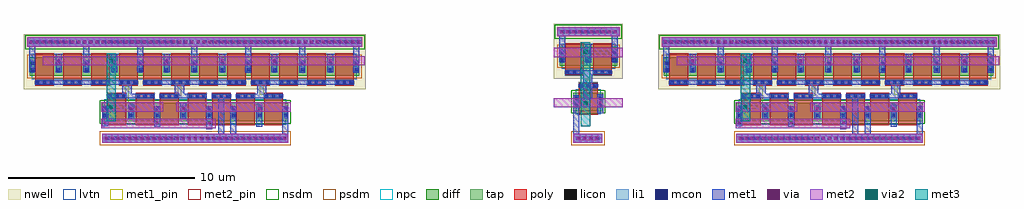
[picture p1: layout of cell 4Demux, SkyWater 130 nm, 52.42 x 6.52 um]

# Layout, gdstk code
import gdstk
lib = gdstk.Library(unit=1e-6, precision=5e-09)
def R(c, l, rs):  # rectangles x0, y0, x1, y1
    for r in rs: c.add(gdstk.rectangle(r[:2], r[2:], *l))
def A(c, l, x, y, w, h, nx, ny, dx, dy):  # array of equal rectangles
    R(c, l, [(x+i*dx, y+j*dy, x+i*dx+w, y+j*dy+h) for i in range(nx) for j in range(ny)])
nwell = (64, 20)
diff = (65, 20)
tap = (65, 44)
poly = (66, 20)
licon = (66, 44)
li1 = (67, 20)
mcon = (67, 44)
met1_pin = (68, 16)
met1 = (68, 20)
via = (68, 44)
met2_pin = (69, 16)
met2 = (69, 20)
via2 = (69, 44)
met3 = (70, 20)
nsdm = (93, 44)
psdm = (94, 20)
npc = (95, 20)
lvtn = (125, 44)

pfet = lib.new_cell('pfet')
R(pfet, nwell, [(-0.305,-0.72,6.405,1.38)])
R(pfet, diff, [(0,0,6.1,1)])
A(pfet, poly, 0.3, -0.53, 1, 0.33, 4, 1, 1.5, 0)
A(pfet, poly, 0.3, -0.2, 1, 1.4, 4, 1, 1.5, 0)
A(pfet, licon, 0.355, -0.45, 0.17, 0.17, 3, 1, 0.36, 0)
A(pfet, licon, 1.855, -0.45, 0.17, 0.17, 3, 1, 0.36, 0)
A(pfet, licon, 3.355, -0.45, 0.17, 0.17, 3, 1, 0.36, 0)
A(pfet, licon, 4.855, -0.45, 0.17, 0.17, 3, 1, 0.36, 0)
A(pfet, licon, 1.465, 0.235, 0.17, 0.17, 3, 2, 1.5, 0.36)
R(pfet, licon, [(0.065,0.235,0.235,0.405), (5.865,0.235,6.035,0.405), (0.065,0.595,0.235,0.765), (5.865,0.595,6.035,0.765)])
A(pfet, li1, 0.275, -0.45, 1.05, 0.17, 4, 1, 1.5, 0)
A(pfet, li1, 1.465, 0.155, 0.17, 0.69, 3, 1, 1.5, 0)
R(pfet, li1, [(0.065,0.155,0.235,0.845), (5.865,0.155,6.035,0.845)])
A(pfet, mcon, 0.355, -0.45, 0.17, 0.17, 3, 1, 0.36, 0)
A(pfet, mcon, 1.855, -0.45, 0.17, 0.17, 3, 1, 0.36, 0)
A(pfet, mcon, 3.355, -0.45, 0.17, 0.17, 3, 1, 0.36, 0)
A(pfet, mcon, 4.855, -0.45, 0.17, 0.17, 3, 1, 0.36, 0)
A(pfet, mcon, 1.465, 0.235, 0.17, 0.17, 3, 2, 1.5, 0.36)
R(pfet, mcon, [(0.065,0.235,0.235,0.405), (5.865,0.235,6.035,0.405), (0.065,0.595,0.235,0.765), (5.865,0.595,6.035,0.765)])
A(pfet, met1, 0.295, -0.48, 1.01, 0.23, 4, 1, 1.5, 0)
A(pfet, met1, 1.435, 0.175, 0.23, 0.65, 3, 1, 1.5, 0)
R(pfet, met1, [(0.035,0.175,0.265,0.825), (5.835,0.175,6.065,0.825)])
R(pfet, psdm, [(-0.125,-0.125,6.225,1.125)])
A(pfet, npc, 0.29, -0.54, 1.02, 0.35, 4, 1, 1.5, 0)
R(pfet, lvtn, [(0.12,-0.18,5.98,1.18)])

vias_gen = lib.new_cell('vias_gen')
R(vias_gen, nwell, [(-0.18,-0.18,18.18,0.68)])
R(vias_gen, tap, [(0,0,18,0.5)])
A(vias_gen, licon, 0.245, 0.165, 0.17, 0.17, 52, 1, 0.34, 0)
R(vias_gen, li1, [(0,0,18,0.5)])
A(vias_gen, mcon, 0.095, 0.165, 0.17, 0.17, 50, 1, 0.36, 0)
R(vias_gen, met1, [(0,0,18,0.5)])
A(vias_gen, via, 0.125, 0.175, 0.15, 0.15, 56, 1, 0.32, 0)
R(vias_gen, met2, [(0,0,18,0.5)])
R(vias_gen, nsdm, [(-0.125,-0.125,18.125,0.625)])

nfet_1 = lib.new_cell('nfet$1')
R(nfet_1, diff, [(0,0,1.6,1)])
R(nfet_1, poly, [(0.3,-0.2,1.3,1.2), (0.3,1.2,1.3,1.53)])
A(nfet_1, licon, 0.355, 1.28, 0.17, 0.17, 3, 1, 0.36, 0)
R(nfet_1, licon, [(0.065,0.235,0.235,0.405), (1.365,0.235,1.535,0.405), (0.065,0.595,0.235,0.765), (1.365,0.595,1.535,0.765)])
R(nfet_1, li1, [(0.065,0.155,0.235,0.845), (1.365,0.155,1.535,0.845), (0.275,1.28,1.325,1.45)])
A(nfet_1, mcon, 0.355, 1.28, 0.17, 0.17, 3, 1, 0.36, 0)
R(nfet_1, mcon, [(0.065,0.235,0.235,0.405), (1.365,0.235,1.535,0.405), (0.065,0.595,0.235,0.765), (1.365,0.595,1.535,0.765)])
R(nfet_1, met1, [(0.035,0.175,0.265,0.825), (1.335,0.175,1.565,0.825), (0.295,1.25,1.305,1.48)])
R(nfet_1, nsdm, [(-0.125,-0.125,1.725,1.125)])
R(nfet_1, npc, [(0.29,1.19,1.31,1.54)])
R(nfet_1, lvtn, [(0.12,-0.18,1.48,1.18)])

nfet = lib.new_cell('nfet')
R(nfet, diff, [(0,0,3.1,1)])
R(nfet, poly, [(0.3,-0.2,1.3,1.2), (1.8,-0.2,2.8,1.2), (0.3,1.2,1.3,1.53), (1.8,1.2,2.8,1.53)])
A(nfet, licon, 0.065, 0.235, 0.17, 0.17, 3, 2, 1.4, 0.36)
A(nfet, licon, 0.355, 1.28, 0.17, 0.17, 3, 1, 0.36, 0)
A(nfet, licon, 1.855, 1.28, 0.17, 0.17, 3, 1, 0.36, 0)
A(nfet, li1, 0.065, 0.155, 0.17, 0.69, 3, 1, 1.4, 0)
R(nfet, li1, [(0.275,1.28,1.325,1.45), (1.775,1.28,2.825,1.45)])
A(nfet, mcon, 0.065, 0.235, 0.17, 0.17, 3, 2, 1.4, 0.36)
A(nfet, mcon, 0.355, 1.28, 0.17, 0.17, 3, 1, 0.36, 0)
A(nfet, mcon, 1.855, 1.28, 0.17, 0.17, 3, 1, 0.36, 0)
A(nfet, met1, 0.035, 0.175, 0.23, 0.65, 3, 1, 1.4, 0)
R(nfet, met1, [(0.295,1.25,1.305,1.48), (1.795,1.25,2.805,1.48)])
R(nfet, nsdm, [(-0.125,-0.125,3.225,1.125)])
R(nfet, npc, [(0.29,1.19,1.31,1.54), (1.79,1.19,2.81,1.54)])
R(nfet, lvtn, [(0.12,-0.18,2.98,1.18)])

vias_gen_1 = lib.new_cell('vias_gen$1')
R(vias_gen_1, tap, [(0,0,10,0.5)])
A(vias_gen_1, licon, 0.155, 0.165, 0.17, 0.17, 29, 1, 0.34, 0)
R(vias_gen_1, li1, [(0,0,10,0.5)])
A(vias_gen_1, mcon, 0.235, 0.165, 0.17, 0.17, 27, 1, 0.36, 0)
R(vias_gen_1, met1, [(0,0,10,0.5)])
A(vias_gen_1, via, 0.125, 0.175, 0.15, 0.15, 31, 1, 0.32, 0)
R(vias_gen_1, met2, [(0,0,10,0.5)])
R(vias_gen_1, psdm, [(-0.125,-0.125,10.125,0.625)])

vias_gen_2 = lib.new_cell('vias_gen$2')
R(vias_gen_2, met1, [(0,0,0.32,0.26)])
R(vias_gen_2, via, [(0.085,0.055,0.235,0.205)])
R(vias_gen_2, met2, [(0,0,0.32,0.26)])

vias_gen_4 = lib.new_cell('vias_gen$4')
R(vias_gen_4, met2, [(0,0,0.37,0.33)])
R(vias_gen_4, via2, [(0.085,0.065,0.285,0.265)])
R(vias_gen_4, met3, [(0,0,0.37,0.33)])

nand = lib.new_cell('NAND')
R(nand, nwell, [(18.31,3.01,18.36,5.14)])
nand.add(gdstk.FlexPath([(4.16,1.17),(10.31,1.17)], 0.5, ends="flush", simple_path=True, layer=69, datatype=20))  # met2
nand.add(gdstk.FlexPath([(4.16,2.05),(7.47,2.05)], 0.5, ends="flush", simple_path=True, layer=69, datatype=20))  # met2
nand.add(gdstk.FlexPath([(8.17,2.05),(14.325,2.05)], 0.5, ends="flush", simple_path=True, layer=69, datatype=20))  # met2
nand.add(gdstk.FlexPath([(1.005,4.54),(18.31,4.54)], 0.5, ends="flush", simple_path=True, layer=69, datatype=20))  # met2
nand.add(gdstk.FlexPath([(4.685,1.28),(4.685,4.93)], 0.5, ends="flush", simple_path=True, layer=70, datatype=20))  # met3
nand.add(gdstk.FlexPath([(4.855,3.905),(4.855,4.91)], 0.32, ends="flush", simple_path=True, layer=68, datatype=20))  # met1
nand.add(gdstk.FlexPath([(6.255,3.905),(6.255,5.76)], 0.32, ends="flush", simple_path=True, layer=68, datatype=20))  # met1
nand.add(gdstk.FlexPath([(3.355,3.905),(3.355,5.76)], 0.32, ends="flush", simple_path=True, layer=68, datatype=20))  # met1
nand.add(gdstk.FlexPath([(0.445,3.905),(0.445,5.76)], 0.32, ends="flush", simple_path=True, layer=68, datatype=20))  # met1
nand.add(gdstk.FlexPath([(9.145,3.905),(9.145,5.76)], 0.32, ends="flush", simple_path=True, layer=68, datatype=20))  # met1
nand.add(gdstk.FlexPath([(12.045,3.9),(12.045,5.755)], 0.32, ends="flush", simple_path=True, layer=68, datatype=20))  # met1
nand.add(gdstk.FlexPath([(14.955,3.9),(14.955,5.755)], 0.32, ends="flush", simple_path=True, layer=68, datatype=20))  # met1
nand.add(gdstk.FlexPath([(17.855,3.9),(17.855,5.755)], 0.32, ends="flush", simple_path=True, layer=68, datatype=20))  # met1
nand.add(gdstk.FlexPath([(1.855,3.905),(1.855,4.91)], 0.32, ends="flush", simple_path=True, layer=68, datatype=20))  # met1
nand.add(gdstk.FlexPath([(7.655,3.905),(7.655,4.91)], 0.32, ends="flush", simple_path=True, layer=68, datatype=20))  # met1
nand.add(gdstk.FlexPath([(10.655,3.905),(10.655,4.91)], 0.32, ends="flush", simple_path=True, layer=68, datatype=20))  # met1
nand.add(gdstk.FlexPath([(13.445,3.905),(13.445,4.91)], 0.32, ends="flush", simple_path=True, layer=68, datatype=20))  # met1
nand.add(gdstk.FlexPath([(16.445,3.905),(16.445,4.91)], 0.32, ends="flush", simple_path=True, layer=68, datatype=20))  # met1
nand.add(gdstk.FlexPath([(1.525,3.365),(2.33,3.365)], 0.23, ends="flush", simple_path=True, layer=68, datatype=20))  # met1
nand.add(gdstk.FlexPath([(2.925,3.365),(3.73,3.365)], 0.23, ends="flush", simple_path=True, layer=68, datatype=20))  # met1
nand.add(gdstk.FlexPath([(4.445,3.365),(5.25,3.365)], 0.23, ends="flush", simple_path=True, layer=68, datatype=20))  # met1
nand.add(gdstk.FlexPath([(7.29,3.365),(8.095,3.365)], 0.23, ends="flush", simple_path=True, layer=68, datatype=20))  # met1
nand.add(gdstk.FlexPath([(8.69,3.365),(9.495,3.365)], 0.23, ends="flush", simple_path=True, layer=68, datatype=20))  # met1
nand.add(gdstk.FlexPath([(10.21,3.365),(11.015,3.365)], 0.23, ends="flush", simple_path=True, layer=68, datatype=20))  # met1
nand.add(gdstk.FlexPath([(13.15,3.365),(13.955,3.365)], 0.23, ends="flush", simple_path=True, layer=68, datatype=20))  # met1
nand.add(gdstk.FlexPath([(14.55,3.365),(15.355,3.365)], 0.23, ends="flush", simple_path=True, layer=68, datatype=20))  # met1
nand.add(gdstk.FlexPath([(16.07,3.365),(16.875,3.365)], 0.23, ends="flush", simple_path=True, layer=68, datatype=20))  # met1
nand.add(gdstk.FlexPath([(10.595,0.52),(10.595,2.76)], 0.32, ends="flush", simple_path=True, layer=68, datatype=20))  # met1
nand.add(gdstk.FlexPath([(5.435,2.645),(6.24,2.645)], 0.23, ends="flush", simple_path=True, layer=68, datatype=20))  # met1
nand.add(gdstk.FlexPath([(8.21,2.645),(9.015,2.645)], 0.23, ends="flush", simple_path=True, layer=68, datatype=20))  # met1
nand.add(gdstk.FlexPath([(12.3,2.645),(13.105,2.645)], 0.23, ends="flush", simple_path=True, layer=68, datatype=20))  # met1
nand.add(gdstk.FlexPath([(12.645,1),(12.645,2.19)], 0.32, ends="flush", simple_path=True, layer=68, datatype=20))  # met1
nand.add(gdstk.FlexPath([(9.95,2.105),(9.95,0.86)], 0.32, ends="flush", simple_path=True, layer=68, datatype=20))  # met1
nand.add(gdstk.FlexPath([(8.55,1.4),(8.55,2.28)], 0.32, ends="flush", simple_path=True, layer=68, datatype=20))  # met1
nand.add(gdstk.FlexPath([(7.145,2.105),(7.145,0.98)], 0.32, ends="flush", simple_path=True, layer=68, datatype=20))  # met1
nand.add(gdstk.FlexPath([(4.355,2.105),(4.355,1.02)], 0.32, ends="flush", simple_path=True, layer=68, datatype=20))  # met1
nand.add(gdstk.FlexPath([(11.25,2.105),(11.25,0.17)], 0.32, ends="flush", simple_path=True, layer=68, datatype=20))  # met1
nand.add(gdstk.FlexPath([(14.04,0.255),(14.04,2.105)], 0.32, ends="flush", simple_path=True, layer=68, datatype=20))  # met1
nand.add(gdstk.FlexPath([(5.76,1.4),(5.76,2.21)], 0.32, ends="flush", simple_path=True, layer=68, datatype=20))  # met1
nand.add(gdstk.FlexPath([(5.525,2.53),(5.525,3.45)], 0.5, ends="flush", simple_path=True, layer=68, datatype=20))  # met1
nand.add(gdstk.FlexPath([(8.345,2.54),(8.345,3.45)], 0.5, ends="flush", simple_path=True, layer=68, datatype=20))  # met1
nand.add(gdstk.FlexPath([(12.765,2.57),(12.765,3.45)], 0.5, ends="flush", simple_path=True, layer=68, datatype=20))  # met1
nand.add(gdstk.FlexPath([(8.35,3.19),(8.35,2.66)], 0.2, ends="flush", simple_path=True, layer=68, datatype=16))  # met1_pin
nand.add(gdstk.FlexPath([(12.77,3.22),(12.77,2.72)], 0.2, ends="flush", simple_path=True, layer=68, datatype=16))  # met1_pin
nand.add(gdstk.FlexPath([(1.525,5.54),(2.865,5.54)], 0.2, ends="flush", simple_path=True, layer=68, datatype=16))  # met1_pin
nand.add(gdstk.FlexPath([(5.52,0.375),(6.77,0.375)], 0.2, ends="flush", simple_path=True, layer=68, datatype=16))  # met1_pin
nand.add(gdstk.FlexPath([(5.525,3.17),(5.525,2.29),(5.525,2.29)], 0.2, ends="flush", simple_path=True, layer=68, datatype=16))  # met1_pin
nand.add(gdstk.FlexPath([(4.5,2.05),(5.335,2.05)], 0.2, ends="flush", simple_path=True, layer=69, datatype=16))  # met2_pin
nand.add(gdstk.Reference(pfet, (0.305,3.73)))
nand.add(gdstk.Reference(pfet, (6.105,3.73)))
nand.add(gdstk.Reference(pfet, (11.905,3.73)))
nand.add(gdstk.Reference(vias_gen, (0.18,5.29)))
nand.add(gdstk.Reference(nfet_1, (9.8,1.28)))
nand.add(gdstk.Reference(nfet, (11.1,1.28)))
nand.add(gdstk.Reference(nfet, (7,1.28)))
nand.add(gdstk.Reference(nfet, (4.2,1.28)))
nand.add(gdstk.Reference(vias_gen_1, (4.205,0.125)))
nand.add(gdstk.Reference(vias_gen_2, (4.195,1.06)))
nand.add(gdstk.Reference(vias_gen_2, (6.985,1.06)))
nand.add(gdstk.Reference(vias_gen_2, (5.6,1.84)))
nand.add(gdstk.Reference(vias_gen_2, (9.79,1.06)))
nand.add(gdstk.Reference(vias_gen_2, (8.39,1.84)))
nand.add(gdstk.Reference(vias_gen_2, (12.48,1.84)))
nand.add(gdstk.Reference(vias_gen_2, (1.695,4.4)))
nand.add(gdstk.Reference(vias_gen_2, (4.695,4.4)))
nand.add(gdstk.Reference(vias_gen_2, (7.495,4.4)))
nand.add(gdstk.Reference(vias_gen_2, (10.495,4.4)))
nand.add(gdstk.Reference(vias_gen_2, (13.285,4.4)))
nand.add(gdstk.Reference(vias_gen_2, (16.285,4.4)))
nand.add(gdstk.Reference(vias_gen_4, (4.485,4.37)))
nand.add(gdstk.Reference(vias_gen_4, (4.475,1.88)))
nand.add(gdstk.Label('B', (8.35,2.735), layer=68, texttype=16))
nand.add(gdstk.Label('C', (12.77,2.71), layer=68, texttype=16))
nand.add(gdstk.Label('VDD', (2.155,5.51), layer=68, texttype=16))
nand.add(gdstk.Label('VSS', (6.14,0.36), layer=68, texttype=16))
nand.add(gdstk.Label('A', (5.475,2.73), layer=68, texttype=16))
nand.add(gdstk.Label('out', (4.84,2.03), layer=69, texttype=16))

nfet_3 = lib.new_cell('nfet$3')
R(nfet_3, diff, [(0,0,1.6,1)])
R(nfet_3, poly, [(0.3,-0.2,1.3,1.2), (0.3,1.2,1.3,1.53)])
A(nfet_3, licon, 0.355, 1.28, 0.17, 0.17, 3, 1, 0.36, 0)
R(nfet_3, licon, [(0.065,0.235,0.235,0.405), (1.365,0.235,1.535,0.405), (0.065,0.595,0.235,0.765), (1.365,0.595,1.535,0.765)])
R(nfet_3, li1, [(0.065,0.155,0.235,0.845), (1.365,0.155,1.535,0.845), (0.275,1.28,1.325,1.45)])
A(nfet_3, mcon, 0.355, 1.28, 0.17, 0.17, 3, 1, 0.36, 0)
R(nfet_3, mcon, [(0.065,0.235,0.235,0.405), (1.365,0.235,1.535,0.405), (0.065,0.595,0.235,0.765), (1.365,0.595,1.535,0.765)])
R(nfet_3, met1, [(0.035,0.175,0.265,0.825), (1.335,0.175,1.565,0.825), (0.295,1.25,1.305,1.48)])
R(nfet_3, nsdm, [(-0.125,-0.125,1.725,1.125)])
R(nfet_3, npc, [(0.29,1.19,1.31,1.54)])
R(nfet_3, lvtn, [(0.12,-0.18,1.48,1.18)])

pfet_2 = lib.new_cell('pfet$2')
R(pfet_2, nwell, [(-0.305,-0.72,3.405,1.38)])
R(pfet_2, diff, [(0,0,3.1,1)])
R(pfet_2, poly, [(0.3,-0.53,1.3,-0.2), (1.8,-0.53,2.8,-0.2), (0.3,-0.2,1.3,1.2), (1.8,-0.2,2.8,1.2)])
A(pfet_2, licon, 0.355, -0.45, 0.17, 0.17, 3, 1, 0.36, 0)
A(pfet_2, licon, 1.855, -0.45, 0.17, 0.17, 3, 1, 0.36, 0)
A(pfet_2, licon, 0.065, 0.235, 0.17, 0.17, 3, 2, 1.4, 0.36)
A(pfet_2, li1, 0.065, 0.155, 0.17, 0.69, 3, 1, 1.4, 0)
R(pfet_2, li1, [(0.275,-0.45,1.325,-0.28), (1.775,-0.45,2.825,-0.28)])
A(pfet_2, mcon, 0.355, -0.45, 0.17, 0.17, 3, 1, 0.36, 0)
A(pfet_2, mcon, 1.855, -0.45, 0.17, 0.17, 3, 1, 0.36, 0)
A(pfet_2, mcon, 0.065, 0.235, 0.17, 0.17, 3, 2, 1.4, 0.36)
A(pfet_2, met1, 0.035, 0.175, 0.23, 0.65, 3, 1, 1.4, 0)
R(pfet_2, met1, [(0.295,-0.48,1.305,-0.25), (1.795,-0.48,2.805,-0.25)])
R(pfet_2, psdm, [(-0.125,-0.125,3.225,1.125)])
R(pfet_2, npc, [(0.29,-0.54,1.31,-0.19), (1.79,-0.54,2.81,-0.19)])
R(pfet_2, lvtn, [(0.12,-0.18,2.98,1.18)])

vias_gen_8 = lib.new_cell('vias_gen$8')
R(vias_gen_8, nwell, [(-0.18,-0.18,3.53,0.68)])
R(vias_gen_8, tap, [(0,0,3.35,0.5)])
A(vias_gen_8, licon, 0.23, 0.165, 0.17, 0.17, 9, 1, 0.34, 0)
R(vias_gen_8, li1, [(0,0,3.35,0.5)])
A(vias_gen_8, mcon, 0.15, 0.165, 0.17, 0.17, 9, 1, 0.36, 0)
R(vias_gen_8, met1, [(0,0,3.35,0.5)])
A(vias_gen_8, via, 0.16, 0.175, 0.15, 0.15, 10, 1, 0.32, 0)
R(vias_gen_8, met2, [(0,0,3.35,0.5)])
R(vias_gen_8, nsdm, [(-0.125,-0.125,3.475,0.625)])

vias_gen_7_1 = lib.new_cell('vias_gen$7$1')
R(vias_gen_7_1, tap, [(0,0,1.55,0.5)])
A(vias_gen_7_1, licon, 0.18, 0.165, 0.17, 0.17, 4, 1, 0.34, 0)
R(vias_gen_7_1, li1, [(0,0,1.55,0.5)])
A(vias_gen_7_1, mcon, 0.15, 0.165, 0.17, 0.17, 4, 1, 0.36, 0)
R(vias_gen_7_1, met1, [(0,0,1.55,0.5)])
A(vias_gen_7_1, via, 0.22, 0.175, 0.15, 0.15, 4, 1, 0.32, 0)
R(vias_gen_7_1, met2, [(0,0,1.55,0.5)])
R(vias_gen_7_1, psdm, [(-0.125,-0.125,1.675,0.625)])

vias_gen_4_2 = lib.new_cell('vias_gen$4$2')
R(vias_gen_4_2, met1, [(0,0,0.32,0.26)])
R(vias_gen_4_2, via, [(0.085,0.055,0.235,0.205)])
R(vias_gen_4_2, met2, [(0,0,0.32,0.26)])

vias_gen_6_1 = lib.new_cell('vias_gen$6$1')
R(vias_gen_6_1, met2, [(0,0,0.37,0.33)])
R(vias_gen_6_1, via2, [(0.085,0.065,0.285,0.265)])
R(vias_gen_6_1, met3, [(0,0,0.37,0.33)])

not_1 = lib.new_cell('NOT$1')
not_1.add(gdstk.FlexPath([(0,2.28),(3.71,2.28)], 0.5, ends="flush", simple_path=True, layer=69, datatype=20))  # met2
not_1.add(gdstk.FlexPath([(0,4.98),(3.71,4.98)], 0.5, ends="flush", simple_path=True, layer=69, datatype=20))  # met2
not_1.add(gdstk.FlexPath([(1.7,5.525),(1.7,1.015)], 0.5, ends="flush", simple_path=True, layer=70, datatype=20))  # met3
not_1.add(gdstk.FlexPath([(2.48,1.72),(2.48,2.725)], 0.32, ends="flush", simple_path=True, layer=68, datatype=20))  # met1
not_1.add(gdstk.FlexPath([(1.855,4.455),(1.855,5.46)], 0.32, ends="flush", simple_path=True, layer=68, datatype=20))  # met1
not_1.add(gdstk.FlexPath([(2.105,3.915),(1.45,3.915)], 0.23, ends="flush", simple_path=True, layer=68, datatype=20))  # met1
not_1.add(gdstk.FlexPath([(1.195,2.675),(1.195,0.125)], 0.32, ends="flush", simple_path=True, layer=68, datatype=20))  # met1
not_1.add(gdstk.FlexPath([(0.45,4.46),(0.45,6.275)], 0.32, ends="flush", simple_path=True, layer=68, datatype=20))  # met1
not_1.add(gdstk.FlexPath([(3.27,4.46),(3.27,6.275)], 0.32, ends="flush", simple_path=True, layer=68, datatype=20))  # met1
not_1.add(gdstk.FlexPath([(1.82,2.465),(1.82,3.92)], 0.5, ends="flush", simple_path=True, layer=68, datatype=20))  # met1
not_1.add(gdstk.FlexPath([(1.82,3.525),(1.82,2.755)], 0.2, ends="flush", simple_path=True, layer=68, datatype=16))  # met1_pin
not_1.add(gdstk.FlexPath([(2.97,4.98),(1.855,4.98)], 0.2, ends="flush", simple_path=True, layer=69, datatype=16))  # met2_pin
not_1.add(gdstk.FlexPath([(2.85,6.18),(1.855,6.18)], 0.2, ends="flush", simple_path=True, layer=69, datatype=16))  # met2_pin
not_1.add(gdstk.FlexPath([(2.37,0.375),(1.41,0.375)], 0.2, ends="flush", simple_path=True, layer=69, datatype=16))  # met2_pin
not_1.add(gdstk.Reference(nfet_3, (1.045,1.83)))
not_1.add(gdstk.Reference(pfet_2, (0.305,4.28)))
not_1.add(gdstk.Reference(vias_gen_8, (0.18,5.84)))
not_1.add(gdstk.Reference(vias_gen_7_1, (1.045,0.125)))
not_1.add(gdstk.Reference(vias_gen_4_2, (1.695,4.89)))
not_1.add(gdstk.Reference(vias_gen_4_2, (2.32,2.16)))
not_1.add(gdstk.Reference(vias_gen_6_1, (1.53,4.85)))
not_1.add(gdstk.Reference(vias_gen_6_1, (1.53,2.1)))
not_1.add(gdstk.Label('in', (1.82,3.06), layer=68, texttype=16))
not_1.add(gdstk.Label('out', (2.68,4.92), layer=69, texttype=16))
not_1.add(gdstk.Label('out', (2.58,6.095), layer=69, texttype=16))
not_1.add(gdstk.Label('VDD', (2.37,6.125), layer=69, texttype=16))
not_1.add(gdstk.Label('VSS', (2.05,0.375), layer=69, texttype=16))

pfet_3 = lib.new_cell('pfet$3')
R(pfet_3, nwell, [(-0.305,-0.72,6.405,1.38)])
R(pfet_3, diff, [(0,0,6.1,1)])
A(pfet_3, poly, 0.3, -0.53, 1, 0.33, 4, 1, 1.5, 0)
A(pfet_3, poly, 0.3, -0.2, 1, 1.4, 4, 1, 1.5, 0)
A(pfet_3, licon, 0.355, -0.45, 0.17, 0.17, 3, 1, 0.36, 0)
A(pfet_3, licon, 1.855, -0.45, 0.17, 0.17, 3, 1, 0.36, 0)
A(pfet_3, licon, 3.355, -0.45, 0.17, 0.17, 3, 1, 0.36, 0)
A(pfet_3, licon, 4.855, -0.45, 0.17, 0.17, 3, 1, 0.36, 0)
A(pfet_3, licon, 1.465, 0.235, 0.17, 0.17, 3, 2, 1.5, 0.36)
R(pfet_3, licon, [(0.065,0.235,0.235,0.405), (5.865,0.235,6.035,0.405), (0.065,0.595,0.235,0.765), (5.865,0.595,6.035,0.765)])
A(pfet_3, li1, 0.275, -0.45, 1.05, 0.17, 4, 1, 1.5, 0)
A(pfet_3, li1, 1.465, 0.155, 0.17, 0.69, 3, 1, 1.5, 0)
R(pfet_3, li1, [(0.065,0.155,0.235,0.845), (5.865,0.155,6.035,0.845)])
A(pfet_3, mcon, 0.355, -0.45, 0.17, 0.17, 3, 1, 0.36, 0)
A(pfet_3, mcon, 1.855, -0.45, 0.17, 0.17, 3, 1, 0.36, 0)
A(pfet_3, mcon, 3.355, -0.45, 0.17, 0.17, 3, 1, 0.36, 0)
A(pfet_3, mcon, 4.855, -0.45, 0.17, 0.17, 3, 1, 0.36, 0)
A(pfet_3, mcon, 1.465, 0.235, 0.17, 0.17, 3, 2, 1.5, 0.36)
R(pfet_3, mcon, [(0.065,0.235,0.235,0.405), (5.865,0.235,6.035,0.405), (0.065,0.595,0.235,0.765), (5.865,0.595,6.035,0.765)])
A(pfet_3, met1, 0.295, -0.48, 1.01, 0.23, 4, 1, 1.5, 0)
A(pfet_3, met1, 1.435, 0.175, 0.23, 0.65, 3, 1, 1.5, 0)
R(pfet_3, met1, [(0.035,0.175,0.265,0.825), (5.835,0.175,6.065,0.825)])
R(pfet_3, psdm, [(-0.125,-0.125,6.225,1.125)])
A(pfet_3, npc, 0.29, -0.54, 1.02, 0.35, 4, 1, 1.5, 0)
R(pfet_3, lvtn, [(0.12,-0.18,5.98,1.18)])

vias_gen_9 = lib.new_cell('vias_gen$9')
R(vias_gen_9, nwell, [(-0.18,-0.18,18.18,0.68)])
R(vias_gen_9, tap, [(0,0,18,0.5)])
A(vias_gen_9, licon, 0.245, 0.165, 0.17, 0.17, 52, 1, 0.34, 0)
R(vias_gen_9, li1, [(0,0,18,0.5)])
A(vias_gen_9, mcon, 0.095, 0.165, 0.17, 0.17, 50, 1, 0.36, 0)
R(vias_gen_9, met1, [(0,0,18,0.5)])
A(vias_gen_9, via, 0.125, 0.175, 0.15, 0.15, 56, 1, 0.32, 0)
R(vias_gen_9, met2, [(0,0,18,0.5)])
R(vias_gen_9, nsdm, [(-0.125,-0.125,18.125,0.625)])

nfet_1_1 = lib.new_cell('nfet$1$1')
R(nfet_1_1, diff, [(0,0,1.6,1)])
R(nfet_1_1, poly, [(0.3,-0.2,1.3,1.2), (0.3,1.2,1.3,1.53)])
A(nfet_1_1, licon, 0.355, 1.28, 0.17, 0.17, 3, 1, 0.36, 0)
R(nfet_1_1, licon, [(0.065,0.235,0.235,0.405), (1.365,0.235,1.535,0.405), (0.065,0.595,0.235,0.765), (1.365,0.595,1.535,0.765)])
R(nfet_1_1, li1, [(0.065,0.155,0.235,0.845), (1.365,0.155,1.535,0.845), (0.275,1.28,1.325,1.45)])
A(nfet_1_1, mcon, 0.355, 1.28, 0.17, 0.17, 3, 1, 0.36, 0)
R(nfet_1_1, mcon, [(0.065,0.235,0.235,0.405), (1.365,0.235,1.535,0.405), (0.065,0.595,0.235,0.765), (1.365,0.595,1.535,0.765)])
R(nfet_1_1, met1, [(0.035,0.175,0.265,0.825), (1.335,0.175,1.565,0.825), (0.295,1.25,1.305,1.48)])
R(nfet_1_1, nsdm, [(-0.125,-0.125,1.725,1.125)])
R(nfet_1_1, npc, [(0.29,1.19,1.31,1.54)])
R(nfet_1_1, lvtn, [(0.12,-0.18,1.48,1.18)])

nfet_4 = lib.new_cell('nfet$4')
R(nfet_4, diff, [(0,0,3.1,1)])
R(nfet_4, poly, [(0.3,-0.2,1.3,1.2), (1.8,-0.2,2.8,1.2), (0.3,1.2,1.3,1.53), (1.8,1.2,2.8,1.53)])
A(nfet_4, licon, 0.065, 0.235, 0.17, 0.17, 3, 2, 1.4, 0.36)
A(nfet_4, licon, 0.355, 1.28, 0.17, 0.17, 3, 1, 0.36, 0)
A(nfet_4, licon, 1.855, 1.28, 0.17, 0.17, 3, 1, 0.36, 0)
A(nfet_4, li1, 0.065, 0.155, 0.17, 0.69, 3, 1, 1.4, 0)
R(nfet_4, li1, [(0.275,1.28,1.325,1.45), (1.775,1.28,2.825,1.45)])
A(nfet_4, mcon, 0.065, 0.235, 0.17, 0.17, 3, 2, 1.4, 0.36)
A(nfet_4, mcon, 0.355, 1.28, 0.17, 0.17, 3, 1, 0.36, 0)
A(nfet_4, mcon, 1.855, 1.28, 0.17, 0.17, 3, 1, 0.36, 0)
A(nfet_4, met1, 0.035, 0.175, 0.23, 0.65, 3, 1, 1.4, 0)
R(nfet_4, met1, [(0.295,1.25,1.305,1.48), (1.795,1.25,2.805,1.48)])
R(nfet_4, nsdm, [(-0.125,-0.125,3.225,1.125)])
R(nfet_4, npc, [(0.29,1.19,1.31,1.54), (1.79,1.19,2.81,1.54)])
R(nfet_4, lvtn, [(0.12,-0.18,2.98,1.18)])

vias_gen_1_1 = lib.new_cell('vias_gen$1$1')
R(vias_gen_1_1, tap, [(0,0,10,0.5)])
A(vias_gen_1_1, licon, 0.155, 0.165, 0.17, 0.17, 29, 1, 0.34, 0)
R(vias_gen_1_1, li1, [(0,0,10,0.5)])
A(vias_gen_1_1, mcon, 0.235, 0.165, 0.17, 0.17, 27, 1, 0.36, 0)
R(vias_gen_1_1, met1, [(0,0,10,0.5)])
A(vias_gen_1_1, via, 0.125, 0.175, 0.15, 0.15, 31, 1, 0.32, 0)
R(vias_gen_1_1, met2, [(0,0,10,0.5)])
R(vias_gen_1_1, psdm, [(-0.125,-0.125,10.125,0.625)])

vias_gen_2_1 = lib.new_cell('vias_gen$2$1')
R(vias_gen_2_1, met1, [(0,0,0.32,0.26)])
R(vias_gen_2_1, via, [(0.085,0.055,0.235,0.205)])
R(vias_gen_2_1, met2, [(0,0,0.32,0.26)])

vias_gen_4_3 = lib.new_cell('vias_gen$4$3')
R(vias_gen_4_3, met2, [(0,0,0.37,0.33)])
R(vias_gen_4_3, via2, [(0.085,0.065,0.285,0.265)])
R(vias_gen_4_3, met3, [(0,0,0.37,0.33)])

nand_1 = lib.new_cell('NAND$1')
R(nand_1, nwell, [(18.31,3.01,18.36,5.14)])
nand_1.add(gdstk.FlexPath([(4.16,1.17),(10.31,1.17)], 0.5, ends="flush", simple_path=True, layer=69, datatype=20))  # met2
nand_1.add(gdstk.FlexPath([(4.16,2.05),(7.47,2.05)], 0.5, ends="flush", simple_path=True, layer=69, datatype=20))  # met2
nand_1.add(gdstk.FlexPath([(8.17,2.05),(14.325,2.05)], 0.5, ends="flush", simple_path=True, layer=69, datatype=20))  # met2
nand_1.add(gdstk.FlexPath([(1.005,4.54),(18.31,4.54)], 0.5, ends="flush", simple_path=True, layer=69, datatype=20))  # met2
nand_1.add(gdstk.FlexPath([(4.685,1.28),(4.685,4.93)], 0.5, ends="flush", simple_path=True, layer=70, datatype=20))  # met3
nand_1.add(gdstk.FlexPath([(4.855,3.905),(4.855,4.91)], 0.32, ends="flush", simple_path=True, layer=68, datatype=20))  # met1
nand_1.add(gdstk.FlexPath([(6.255,3.905),(6.255,5.76)], 0.32, ends="flush", simple_path=True, layer=68, datatype=20))  # met1
nand_1.add(gdstk.FlexPath([(3.355,3.905),(3.355,5.76)], 0.32, ends="flush", simple_path=True, layer=68, datatype=20))  # met1
nand_1.add(gdstk.FlexPath([(0.445,3.905),(0.445,5.76)], 0.32, ends="flush", simple_path=True, layer=68, datatype=20))  # met1
nand_1.add(gdstk.FlexPath([(9.145,3.905),(9.145,5.76)], 0.32, ends="flush", simple_path=True, layer=68, datatype=20))  # met1
nand_1.add(gdstk.FlexPath([(12.045,3.9),(12.045,5.755)], 0.32, ends="flush", simple_path=True, layer=68, datatype=20))  # met1
nand_1.add(gdstk.FlexPath([(14.955,3.9),(14.955,5.755)], 0.32, ends="flush", simple_path=True, layer=68, datatype=20))  # met1
nand_1.add(gdstk.FlexPath([(17.855,3.9),(17.855,5.755)], 0.32, ends="flush", simple_path=True, layer=68, datatype=20))  # met1
nand_1.add(gdstk.FlexPath([(1.855,3.905),(1.855,4.91)], 0.32, ends="flush", simple_path=True, layer=68, datatype=20))  # met1
nand_1.add(gdstk.FlexPath([(7.655,3.905),(7.655,4.91)], 0.32, ends="flush", simple_path=True, layer=68, datatype=20))  # met1
nand_1.add(gdstk.FlexPath([(10.655,3.905),(10.655,4.91)], 0.32, ends="flush", simple_path=True, layer=68, datatype=20))  # met1
nand_1.add(gdstk.FlexPath([(13.445,3.905),(13.445,4.91)], 0.32, ends="flush", simple_path=True, layer=68, datatype=20))  # met1
nand_1.add(gdstk.FlexPath([(16.445,3.905),(16.445,4.91)], 0.32, ends="flush", simple_path=True, layer=68, datatype=20))  # met1
nand_1.add(gdstk.FlexPath([(1.525,3.365),(2.33,3.365)], 0.23, ends="flush", simple_path=True, layer=68, datatype=20))  # met1
nand_1.add(gdstk.FlexPath([(2.925,3.365),(3.73,3.365)], 0.23, ends="flush", simple_path=True, layer=68, datatype=20))  # met1
nand_1.add(gdstk.FlexPath([(4.445,3.365),(5.25,3.365)], 0.23, ends="flush", simple_path=True, layer=68, datatype=20))  # met1
nand_1.add(gdstk.FlexPath([(7.29,3.365),(8.095,3.365)], 0.23, ends="flush", simple_path=True, layer=68, datatype=20))  # met1
nand_1.add(gdstk.FlexPath([(8.69,3.365),(9.495,3.365)], 0.23, ends="flush", simple_path=True, layer=68, datatype=20))  # met1
nand_1.add(gdstk.FlexPath([(10.21,3.365),(11.015,3.365)], 0.23, ends="flush", simple_path=True, layer=68, datatype=20))  # met1
nand_1.add(gdstk.FlexPath([(13.15,3.365),(13.955,3.365)], 0.23, ends="flush", simple_path=True, layer=68, datatype=20))  # met1
nand_1.add(gdstk.FlexPath([(14.55,3.365),(15.355,3.365)], 0.23, ends="flush", simple_path=True, layer=68, datatype=20))  # met1
nand_1.add(gdstk.FlexPath([(16.07,3.365),(16.875,3.365)], 0.23, ends="flush", simple_path=True, layer=68, datatype=20))  # met1
nand_1.add(gdstk.FlexPath([(10.595,0.52),(10.595,2.76)], 0.32, ends="flush", simple_path=True, layer=68, datatype=20))  # met1
nand_1.add(gdstk.FlexPath([(5.435,2.645),(6.24,2.645)], 0.23, ends="flush", simple_path=True, layer=68, datatype=20))  # met1
nand_1.add(gdstk.FlexPath([(8.21,2.645),(9.015,2.645)], 0.23, ends="flush", simple_path=True, layer=68, datatype=20))  # met1
nand_1.add(gdstk.FlexPath([(12.3,2.645),(13.105,2.645)], 0.23, ends="flush", simple_path=True, layer=68, datatype=20))  # met1
nand_1.add(gdstk.FlexPath([(12.645,1),(12.645,2.19)], 0.32, ends="flush", simple_path=True, layer=68, datatype=20))  # met1
nand_1.add(gdstk.FlexPath([(9.95,2.105),(9.95,0.86)], 0.32, ends="flush", simple_path=True, layer=68, datatype=20))  # met1
nand_1.add(gdstk.FlexPath([(8.55,1.4),(8.55,2.28)], 0.32, ends="flush", simple_path=True, layer=68, datatype=20))  # met1
nand_1.add(gdstk.FlexPath([(7.145,2.105),(7.145,0.98)], 0.32, ends="flush", simple_path=True, layer=68, datatype=20))  # met1
nand_1.add(gdstk.FlexPath([(4.355,2.105),(4.355,1.02)], 0.32, ends="flush", simple_path=True, layer=68, datatype=20))  # met1
nand_1.add(gdstk.FlexPath([(11.25,2.105),(11.25,0.17)], 0.32, ends="flush", simple_path=True, layer=68, datatype=20))  # met1
nand_1.add(gdstk.FlexPath([(14.04,0.255),(14.04,2.105)], 0.32, ends="flush", simple_path=True, layer=68, datatype=20))  # met1
nand_1.add(gdstk.FlexPath([(5.76,1.4),(5.76,2.21)], 0.32, ends="flush", simple_path=True, layer=68, datatype=20))  # met1
nand_1.add(gdstk.FlexPath([(5.525,2.53),(5.525,3.45)], 0.5, ends="flush", simple_path=True, layer=68, datatype=20))  # met1
nand_1.add(gdstk.FlexPath([(8.345,2.54),(8.345,3.45)], 0.5, ends="flush", simple_path=True, layer=68, datatype=20))  # met1
nand_1.add(gdstk.FlexPath([(12.765,2.57),(12.765,3.45)], 0.5, ends="flush", simple_path=True, layer=68, datatype=20))  # met1
nand_1.add(gdstk.FlexPath([(8.35,3.19),(8.35,2.66)], 0.2, ends="flush", simple_path=True, layer=68, datatype=16))  # met1_pin
nand_1.add(gdstk.FlexPath([(12.77,3.22),(12.77,2.72)], 0.2, ends="flush", simple_path=True, layer=68, datatype=16))  # met1_pin
nand_1.add(gdstk.FlexPath([(1.525,5.54),(2.865,5.54)], 0.2, ends="flush", simple_path=True, layer=68, datatype=16))  # met1_pin
nand_1.add(gdstk.FlexPath([(5.52,0.375),(6.77,0.375)], 0.2, ends="flush", simple_path=True, layer=68, datatype=16))  # met1_pin
nand_1.add(gdstk.FlexPath([(5.525,3.17),(5.525,2.29),(5.525,2.29)], 0.2, ends="flush", simple_path=True, layer=68, datatype=16))  # met1_pin
nand_1.add(gdstk.FlexPath([(4.5,2.05),(5.335,2.05)], 0.2, ends="flush", simple_path=True, layer=69, datatype=16))  # met2_pin
nand_1.add(gdstk.Reference(pfet_3, (0.305,3.73)))
nand_1.add(gdstk.Reference(pfet_3, (6.105,3.73)))
nand_1.add(gdstk.Reference(pfet_3, (11.905,3.73)))
nand_1.add(gdstk.Reference(vias_gen_9, (0.18,5.29)))
nand_1.add(gdstk.Reference(nfet_1_1, (9.8,1.28)))
nand_1.add(gdstk.Reference(nfet_4, (11.1,1.28)))
nand_1.add(gdstk.Reference(nfet_4, (7,1.28)))
nand_1.add(gdstk.Reference(nfet_4, (4.2,1.28)))
nand_1.add(gdstk.Reference(vias_gen_1_1, (4.205,0.125)))
nand_1.add(gdstk.Reference(vias_gen_2_1, (4.195,1.06)))
nand_1.add(gdstk.Reference(vias_gen_2_1, (6.985,1.06)))
nand_1.add(gdstk.Reference(vias_gen_2_1, (5.6,1.84)))
nand_1.add(gdstk.Reference(vias_gen_2_1, (9.79,1.06)))
nand_1.add(gdstk.Reference(vias_gen_2_1, (8.39,1.84)))
nand_1.add(gdstk.Reference(vias_gen_2_1, (12.48,1.84)))
nand_1.add(gdstk.Reference(vias_gen_2_1, (1.695,4.4)))
nand_1.add(gdstk.Reference(vias_gen_2_1, (4.695,4.4)))
nand_1.add(gdstk.Reference(vias_gen_2_1, (7.495,4.4)))
nand_1.add(gdstk.Reference(vias_gen_2_1, (10.495,4.4)))
nand_1.add(gdstk.Reference(vias_gen_2_1, (13.285,4.4)))
nand_1.add(gdstk.Reference(vias_gen_2_1, (16.285,4.4)))
nand_1.add(gdstk.Reference(vias_gen_4_3, (4.485,4.37)))
nand_1.add(gdstk.Reference(vias_gen_4_3, (4.475,1.88)))
nand_1.add(gdstk.Label('B', (8.35,2.735), layer=68, texttype=16))
nand_1.add(gdstk.Label('C', (12.77,2.71), layer=68, texttype=16))
nand_1.add(gdstk.Label('VDD', (2.155,5.51), layer=68, texttype=16))
nand_1.add(gdstk.Label('VSS', (6.14,0.36), layer=68, texttype=16))
nand_1.add(gdstk.Label('A', (5.475,2.73), layer=68, texttype=16))
nand_1.add(gdstk.Label('out', (4.84,2.03), layer=69, texttype=16))

not_ = lib.new_cell('NOT')
not_.add(gdstk.Reference(not_1, (7.51,0)))
not_.add(gdstk.Reference(nand_1, (13.11,0)))

c_4demux = lib.new_cell('4Demux')
c_4demux.add(gdstk.Reference(nand, (0,0)))
c_4demux.add(gdstk.Reference(not_, (20.95,0)))

lib.write_gds('4Demux.gds')
